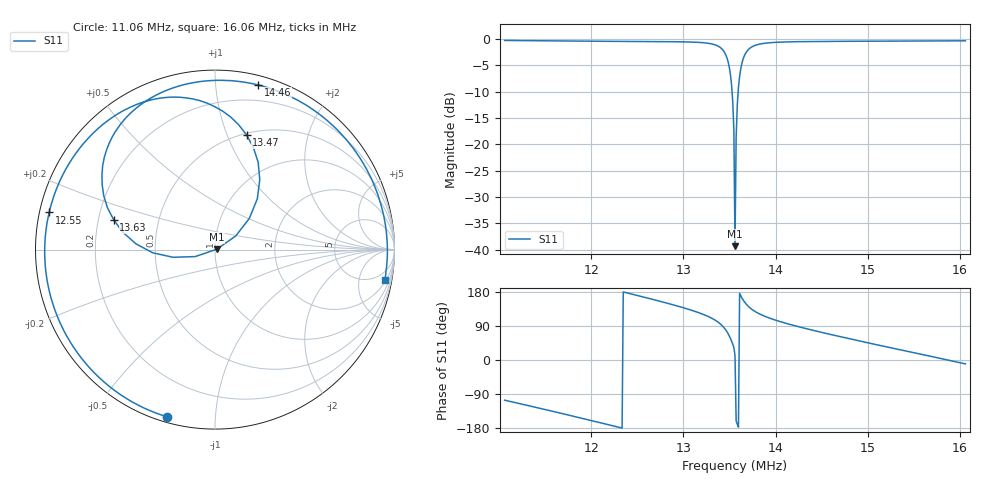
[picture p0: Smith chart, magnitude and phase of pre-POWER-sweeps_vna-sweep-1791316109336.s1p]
! TC-POWER VNA auto-tune export
# Hz S RI R 50
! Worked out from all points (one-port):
!   401 points, 11.06 MHz to 16.06 MHz, reference 50 ohm
!   lowest |S11| = -39.3 dB at 13.56 MHz (marker M1), VSWR 1.02, Z = 51.1 + j0.227 ohm
!   |S11| at or under -10 dB: 13.52789 MHz to 13.59439 MHz (66.49 kHz wide, 0.49 % of centre)
!   S11 on the Smith chart (normalised r, x): 11.06 MHz: 0.02, -0.75; 12.55 MHz: 0.03, +0.11; 13.47 MHz: 0.51, +1.17; 13.63 MHz: 0.26, +0.13; 14.46 MHz: 0.07, +1.30; 16.06 MHz: 2, -11
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1.106e7  -0.2678 -0.9314
1.1685e7  -0.7488 -0.5989
1.201e7  -0.8975 -0.3213
1.231e7  -0.9488 -0.0304
1.25475e7  -0.9241 0.2068
1.2935e7  -0.7469 0.5739
1.31725e7  -0.524 0.7667
1.3335e7  -0.2524 0.8492
1.341e7  -0.0447 0.8163
1.34725e7  0.1755 0.6395
1.351e7  0.2494 0.3895
1.35225e7  0.2357 0.2826
1.3535e7  0.1916 0.1742
1.35475e7  0.1157 0.076
1.356e7  0.0106 0.00222
1.3585e7  -0.2337 -0.0428
1.35975e7  -0.3473 -0.0178
1.361e7  -0.4412 0.0327
1.3635e7  -0.5643 0.166
1.36725e7  -0.6288 0.3623
1.37225e7  -0.605 0.5528
1.38225e7  -0.4735 0.7573
1.39725e7  -0.2763 0.8849
1.4185e7  -0.0328 0.941
1.446e7  0.242 0.917
1.481e7  0.5369 0.786
1.5435e7  0.8828 0.3688
1.606e7  0.9463 -0.1713
